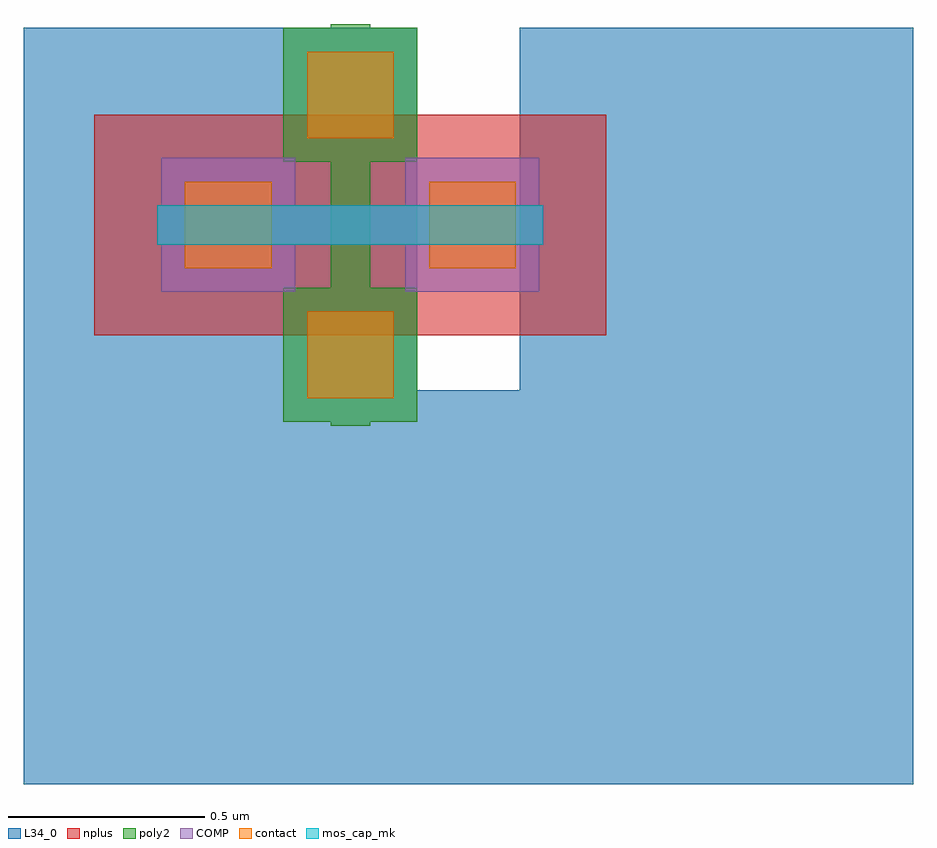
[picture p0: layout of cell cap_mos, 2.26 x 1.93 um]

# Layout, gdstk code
import gdstk
lib = gdstk.Library(unit=1e-6, precision=1e-09)
def R(c, l, rs):  # rectangles x0, y0, x1, y1
    for r in rs: c.add(gdstk.rectangle(r[:2], r[2:], *l))
COMP = (22, 0)
poly2 = (30, 0)
nplus = (32, 0)
contact = (33, 0)
L34_0 = (34, 0)
mos_cap_mk = (166, 5)

compass_5b227d94 = lib.new_cell('compass_5b227d94')
R(compass_5b227d94, COMP, [(-0.49,-0.05,0.49,0.05)])

rectangle_5b227d94 = lib.new_cell('rectangle_5b227d94')
rectangle_5b227d94.add(gdstk.Reference(compass_5b227d94, (0.49,0.05)))

compass_60661fcd = lib.new_cell('compass_60661fcd')
R(compass_60661fcd, mos_cap_mk, [(-0.49,-0.05,0.49,0.05)])

rectangle_60661fcd = lib.new_cell('rectangle_60661fcd')
rectangle_60661fcd.add(gdstk.Reference(compass_60661fcd, (0.49,0.05)))

compass_f38dc993 = lib.new_cell('compass_f38dc993')
R(compass_f38dc993, contact, [(-0.11,-0.11,0.11,0.11)])

rectangle_f38dc993 = lib.new_cell('rectangle_f38dc993')
rectangle_f38dc993.add(gdstk.Reference(compass_f38dc993, (0.11,0.11)))

via_generator_de213d3a = lib.new_cell('via_generator_de213d3a')
r = gdstk.Reference(rectangle_f38dc993, (0.07,-0.06)); r.repetition = gdstk.Repetition(1, 1, v1=(0.5,0), v2=(0,0.5)); via_generator_de213d3a.add(r)

compass_9deecdff = lib.new_cell('compass_9deecdff')
R(compass_9deecdff, COMP, [(-0.17,-0.17,0.17,0.17)])

rectangle_9deecdff = lib.new_cell('rectangle_9deecdff')
rectangle_9deecdff.add(gdstk.Reference(compass_9deecdff, (0.17,0.17)))

via_stack_202ed7e5 = lib.new_cell('via_stack_202ed7e5')
via_stack_202ed7e5.add(gdstk.Reference(via_generator_de213d3a, (0,0)))
via_stack_202ed7e5.add(gdstk.Reference(rectangle_9deecdff, (0.01,-0.12)))

compass_d806ed4b = lib.new_cell('compass_d806ed4b')
R(compass_d806ed4b, nplus, [(-0.65,-0.28,0.65,0.28)])

rectangle_d806ed4b = lib.new_cell('rectangle_d806ed4b')
rectangle_d806ed4b.add(gdstk.Reference(compass_d806ed4b, (0.65,0.28)))

compass_18f8f206 = lib.new_cell('compass_18f8f206')
R(compass_18f8f206, poly2, [(-0.05,-0.51,0.05,0.51)])

rectangle_18f8f206 = lib.new_cell('rectangle_18f8f206')
rectangle_18f8f206.add(gdstk.Reference(compass_18f8f206, (0.05,0.51)))

via_generator_834246e0 = lib.new_cell('via_generator_834246e0')
r = gdstk.Reference(rectangle_f38dc993, (0.38,-0.39)); r.repetition = gdstk.Repetition(1, 1, v1=(0.5,0), v2=(0,0.5)); via_generator_834246e0.add(r)

compass_c6da174f = lib.new_cell('compass_c6da174f')
R(compass_c6da174f, poly2, [(-0.17,-0.17,0.17,0.17)])

rectangle_c6da174f = lib.new_cell('rectangle_c6da174f')
rectangle_c6da174f.add(gdstk.Reference(compass_c6da174f, (0.17,0.17)))

via_stack_5a8227c8 = lib.new_cell('via_stack_5a8227c8')
via_stack_5a8227c8.add(gdstk.Reference(via_generator_834246e0, (0,0)))
via_stack_5a8227c8.add(gdstk.Reference(rectangle_c6da174f, (0.32,-0.45)))

compass_7b686575 = lib.new_cell('compass_7b686575')
R(compass_7b686575, L34_0, [(-0.17,-0.5,0.17,0.5)])

rectangle_7b686575 = lib.new_cell('rectangle_7b686575')
rectangle_7b686575.add(gdstk.Reference(compass_7b686575, (0.17,0.5)))

cap_mos_inst_2450f708 = lib.new_cell('cap_mos_inst_2450f708')
cap_mos_inst_2450f708.add(gdstk.Reference(rectangle_5b227d94, (0,0)))
cap_mos_inst_2450f708.add(gdstk.Reference(rectangle_60661fcd, (0,0)))
r = gdstk.Reference(via_stack_202ed7e5, (0,0)); r.repetition = gdstk.Repetition(2, 1, v1=(0.62,0), v2=(0,1)); cap_mos_inst_2450f708.add(r)
cap_mos_inst_2450f708.add(gdstk.Reference(rectangle_d806ed4b, (-0.16,-0.23)))
cap_mos_inst_2450f708.add(gdstk.Reference(rectangle_18f8f206, (0.44,-0.46)))
r = gdstk.Reference(via_stack_5a8227c8, (0,0)); r.repetition = gdstk.Repetition(1, 2, v1=(1,0), v2=(0,0.66)); cap_mos_inst_2450f708.add(r)
cap_mos_inst_2450f708.add(gdstk.Reference(rectangle_7b686575, (0.32,-0.45)))

compass_layer34__0_size1 = lib.new_cell('compass_layer34__0_size1__0p92')
R(compass_layer34__0_size1, L34_0, [(-0.5,-0.46,0.5,0.46)])

rectangle_layer34__0_siz = lib.new_cell('rectangle_layer34__0_size1__0p92')
rectangle_layer34__0_siz.add(gdstk.Reference(compass_layer34__0_size1, (0.5,0.46)))

compass_layer34__0_size2 = lib.new_cell('compass_layer34__0_size2p26__1')
R(compass_layer34__0_size2, L34_0, [(-1.13,-0.5,1.13,0.5)])

c_rectangle_layer34__0_siz = lib.new_cell('rectangle_layer34__0_size2p26__1')
c_rectangle_layer34__0_siz.add(gdstk.Reference(compass_layer34__0_size2, (1.13,0.5)))

cap_mos = lib.new_cell('cap_mos')
cap_mos.add(gdstk.Reference(cap_mos_inst_2450f708, (0,0)))
r = gdstk.Reference(rectangle_layer34__0_siz, (-0.34,-0.37)); r.repetition = gdstk.Repetition(2, 1, v1=(1.26,0), v2=(0,1)); cap_mos.add(r)
cap_mos.add(gdstk.Reference(c_rectangle_layer34__0_siz, (-0.34,-1.37)))

lib.write_gds('cap_mos.gds')
